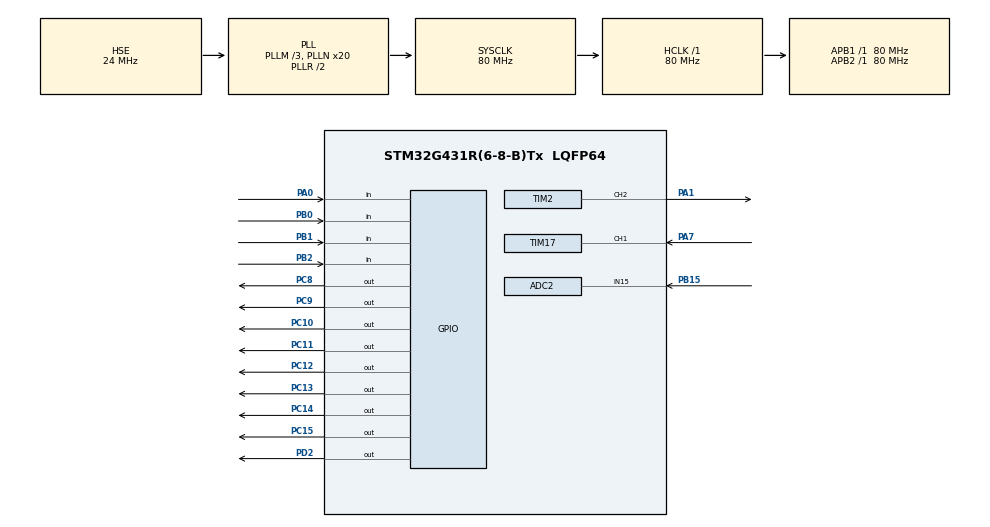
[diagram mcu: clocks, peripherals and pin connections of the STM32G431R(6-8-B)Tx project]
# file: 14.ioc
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ADC2.Channel-0\#ChannelRegularConversion=ADC_CHANNEL_15
ADC2.NbrOfConversionFlag=1
ADC2.OffsetNumber-0\#ChannelRegularConversion=ADC_OFFSET_NONE
ADC2.Rank-0\#ChannelRegularConversion=1
ADC2.SamplingTime-0\#ChannelRegularConversion=ADC_SAMPLETIME_2CYCLES_5
Mcu.Family=STM32G4
Mcu.Name=STM32G431R(6-8-B)Tx
Mcu.Package=LQFP64
NVIC.PriorityGroup=NVIC_PRIORITYGROUP_4
NVIC.TIM1_TRG_COM_TIM17_IRQn=true\:0\:0\:false\:false\:true\:true\:true\:true
PA0.GPIO_PuPd=GPIO_PULLUP
PA0.Signal=GPIO_Input
PA1.Signal=S_TIM2_CH2
PA13.Mode=Serial_Wire
PA13.Signal=SYS_JTMS-SWDIO
PA14.Mode=Serial_Wire
PA14.Signal=SYS_JTCK-SWCLK
PA7.Signal=S_TIM17_CH1
PB0.GPIO_PuPd=GPIO_PULLUP
PB0.Signal=GPIO_Input
PB1.GPIO_PuPd=GPIO_PULLUP
PB1.Signal=GPIO_Input
PB15.Mode=IN15-Single-Ended
PB15.Signal=ADC2_IN15
PB2.GPIO_PuPd=GPIO_PULLUP
PB2.Signal=GPIO_Input
PC10.PinState=GPIO_PIN_SET
PC10.Signal=GPIO_Output
PC11.PinState=GPIO_PIN_SET
PC11.Signal=GPIO_Output
PC12.PinState=GPIO_PIN_SET
PC12.Signal=GPIO_Output
PC13.PinState=GPIO_PIN_SET
PC13.Signal=GPIO_Output
PC14-OSC32_IN.PinState=GPIO_PIN_SET
PC14-OSC32_IN.Signal=GPIO_Output
PC15-OSC32_OUT.PinState=GPIO_PIN_SET
PC15-OSC32_OUT.Signal=GPIO_Output
PC8.PinState=GPIO_PIN_SET
PC8.Signal=GPIO_Output
PC9.PinState=GPIO_PIN_SET
PC9.Signal=GPIO_Output
PD2.PinState=GPIO_PIN_SET
PD2.Signal=GPIO_Output
PF0-OSC_IN.Mode=HSE-External-Oscillator
PF0-OSC_IN.Signal=RCC_OSC_IN
PF1-OSC_OUT.Mode=HSE-External-Oscillator
PF1-OSC_OUT.Signal=RCC_OSC_OUT
ProjectManager.HeapSize=0x200
ProjectManager.StackSize=0x400
ProjectManager.TargetToolchain=MDK-ARM V5.32
RCC.ADC12Freq_Value=80000000
RCC.AHBFreq_Value=80000000
RCC.APB1Freq_Value=80000000
RCC.APB1TimFreq_Value=80000000
RCC.APB2Freq_Value=80000000
RCC.APB2TimFreq_Value=80000000
RCC.CortexFreq_Value=80000000
RCC.EXTERNAL_CLOCK_VALUE=12288000
RCC.HCLKFreq_Value=80000000
RCC.HSE_VALUE=24000000
RCC.HSI48_VALUE=48000000
RCC.HSI_VALUE=16000000
RCC.LSE_VALUE=32768
RCC.PLLM=RCC_PLLM_DIV3
RCC.PLLN=20
RCC.PLLSourceVirtual=RCC_PLLSOURCE_HSE
RCC.SYSCLKFreq_VALUE=80000000
RCC.SYSCLKSource=RCC_SYSCLKSOURCE_PLLCLK
RCC.USBFreq_Value=80000000
RCC.VCOOutputFreq_Value=160000000
SH.S_TIM17_CH1.0=TIM17_CH1,Input_Capture1_from_TI1
SH.S_TIM2_CH2.0=TIM2_CH2,PWM Generation2 CH2
TIM17.Channel=TIM_CHANNEL_1
TIM17.Prescaler=79
TIM2.Channel-PWM\ Generation2\ CH2=TIM_CHANNEL_2
TIM2.PeriodNoDither=99
TIM2.Prescaler=799
TIM3.Prescaler=7999
VP_SYS_VS_DBSignals.Mode=DisableDeadBatterySignals
VP_TIM17_VS_ClockSourceINT.Mode=Enable_Timer
VP_TIM3_VS_ClockSourceINT.Mode=Internal
board=custom

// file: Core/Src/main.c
/* USER CODE BEGIN Header */
/**
  ******************************************************************************
  * @file           : main.c
  * @brief          : Main program body
  ******************************************************************************
  * @attention
  *
  * Copyright (c) 2026 STMicroelectronics.
  * All rights reserved.
  *
  * This software is licensed under terms that can be found in the LICENSE file
  * in the root directory of this software component.
  * If no LICENSE file comes with this software, it is provided AS-IS.
  *
  ******************************************************************************
  */
/* USER CODE END Header */
#include "main.h"
#include "adc.h"
#include "tim.h"
#include "gpio.h"

/* USER CODE BEGIN Includes */
#include "fun.h"
/* USER CODE END Includes */

void SystemClock_Config(void);

int main(void)
{

  /* MCU Configuration--------------------------------------------------------*/

  /* Reset of all peripherals, Initializes the Flash interface and the Systick. */
  HAL_Init();

  /* Configure the system clock */
  SystemClock_Config();

  /* Initialize all configured peripherals */
  MX_GPIO_Init();
  MX_ADC2_Init();
  MX_TIM2_Init();
  MX_TIM3_Init();
  MX_TIM17_Init();
  /* USER CODE BEGIN 2 */
	HAL_TIM_IC_Start_IT(&htim17,TIM_CHANNEL_1);
	HAL_TIM_PWM_Start(&htim2,TIM_CHANNEL_2);
	HAL_TIM_Base_Start(&htim3);
	led_Disp(0x00);
	TIM2->PSC = 80000000/(4000*100);
    LCD_Init();
    LCD_SetBackColor(Black);
    LCD_SetTextColor(White);
		LCD_Clear(Black);

  /* USER CODE END 2 */

  /* Infinite loop */
  /* USER CODE BEGIN WHILE */
  while (1)
  {
		key_scan();
		pwm_duty();
		freM();
		freV();
		lcd_show();

    /* USER CODE END WHILE */

  }
}

void SystemClock_Config(void)
{
  RCC_OscInitTypeDef RCC_OscInitStruct = {0};
  RCC_ClkInitTypeDef RCC_ClkInitStruct = {0};

  /** Configure the main internal regulator output voltage
  */
  HAL_PWREx_ControlVoltageScaling(PWR_REGULATOR_VOLTAGE_SCALE1);

  /** Initializes the RCC Oscillators according to the specified parameters
  * in the RCC_OscInitTypeDef structure.
  */
  RCC_OscInitStruct.OscillatorType = RCC_OSCILLATORTYPE_HSE;
  RCC_OscInitStruct.HSEState = RCC_HSE_ON;
  RCC_OscInitStruct.PLL.PLLState = RCC_PLL_ON;
  RCC_OscInitStruct.PLL.PLLSource = RCC_PLLSOURCE_HSE;
  RCC_OscInitStruct.PLL.PLLM = RCC_PLLM_DIV3;
  RCC_OscInitStruct.PLL.PLLN = 20;
  RCC_OscInitStruct.PLL.PLLP = RCC_PLLP_DIV2;
  RCC_OscInitStruct.PLL.PLLQ = RCC_PLLQ_DIV2;
  RCC_OscInitStruct.PLL.PLLR = RCC_PLLR_DIV2;
  if (HAL_RCC_OscConfig(&RCC_OscInitStruct) != HAL_OK)
  {
    Error_Handler();
  }

  /** Initializes the CPU, AHB and APB buses clocks
  */
  RCC_ClkInitStruct.ClockType = RCC_CLOCKTYPE_HCLK|RCC_CLOCKTYPE_SYSCLK
                              |RCC_CLOCKTYPE_PCLK1|RCC_CLOCKTYPE_PCLK2;
  RCC_ClkInitStruct.SYSCLKSource = RCC_SYSCLKSOURCE_PLLCLK;
  RCC_ClkInitStruct.AHBCLKDivider = RCC_SYSCLK_DIV1;
  RCC_ClkInitStruct.APB1CLKDivider = RCC_HCLK_DIV1;
  RCC_ClkInitStruct.APB2CLKDivider = RCC_HCLK_DIV1;

  if (HAL_RCC_ClockConfig(&RCC_ClkInitStruct, FLASH_LATENCY_2) != HAL_OK)
  {
    Error_Handler();
  }
}

void Error_Handler(void)
{
  __disable_irq();
  while (1)
  {
  }
}
